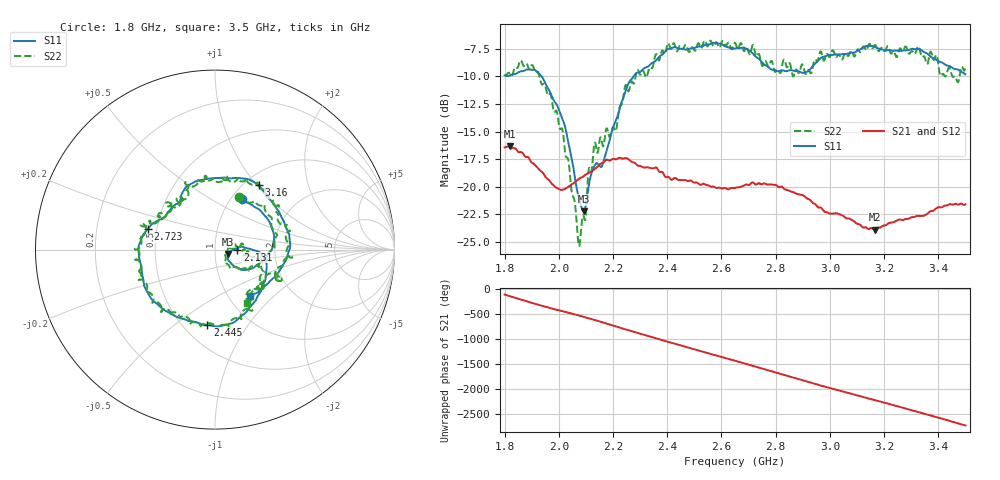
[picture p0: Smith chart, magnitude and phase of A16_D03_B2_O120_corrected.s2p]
! Created with skrf 1.9.0 (http://scikit-rf.org).
# Hz S RI R 50.0
!freq ReS11 ImS11 ReS21 ImS21 ReS12 ImS12 ReS22 ImS22
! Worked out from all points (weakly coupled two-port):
!   1601 points, 1.8 GHz to 3.5 GHz, reference 50 ohm
!   highest |S21| = -16.34 dB at 1.818 GHz (marker M1); lowest = -23.9 dB at 3.165 GHz (marker M2)
!   lowest |S11| = -22.2 dB at 2.091 GHz (marker M3), VSWR 1.17, Z = 57.9 - j2.76 ohm
!   |S11| at or under -10 dB: 1.936 GHz to 2.276 GHz (339.6 MHz wide, 16.1 % of centre)
!   |S22| runs from -25.4 to -6.8 dB; largest |S21 - S12| = 0.0027
!   S11 on the Smith chart (normalised r, x): 1.8 GHz: 1.13, +0.70; 2.131 GHz: 1.28, -0.00; 2.445 GHz: 0.65, -0.66; 2.723 GHz: 0.44, +0.12; 3.16 GHz: 1.16, +1.02; 3.5 GHz: 1.26, -0.72
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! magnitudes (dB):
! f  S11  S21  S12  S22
! 1.8 GHz  -9.9  -16.4  -16.4  -9.9
! 1.818 GHz  -9.9  -16.3  -16.4  -9.7
! 1.903 GHz  -9.4  -17.9  -17.9  -9.0
! 1.968 GHz  -11.5  -19.5  -19.6  -11.6
! 2.015 GHz  -13.9  -20.3  -20.3  -15.0
! 2.072 GHz  -20.8  -19.3  -19.4  -25.1
! 2.084 GHz  -21.9  -19.2  -19.1  -23.4
! 2.091 GHz  -22.2  -19.0  -19.1  -22.6
! 2.131 GHz  -18.1  -18.4  -18.4  -16.1
! 2.162 GHz  -17.9  -17.8  -17.8  -16.3
! 2.26 GHz  -10.5  -17.6  -17.6  -11.2
! 2.367 GHz  -8.3  -18.5  -18.5  -8.5
! 2.445 GHz  -7.5  -19.4  -19.4  -7.3
! 2.65 GHz  -7.5  -20.1  -20.1  -7.0
! 2.723 GHz  -8.1  -19.7  -19.7  -7.8
! 2.934 GHz  -9.2  -21.4  -21.4  -9.6
! 3.16 GHz  -7.3  -23.8  -23.8  -7.4
! 3.165 GHz  -7.3  -23.9  -23.9  -7.2
! 3.217 GHz  -7.6  -23.3  -23.3  -7.4
! 3.327 GHz  -7.5  -22.6  -22.6  -7.3
! 3.468 GHz  -9.4  -21.6  -21.6  -10.4
! 3.5 GHz  -9.8  -21.6  -21.6  -9.2
